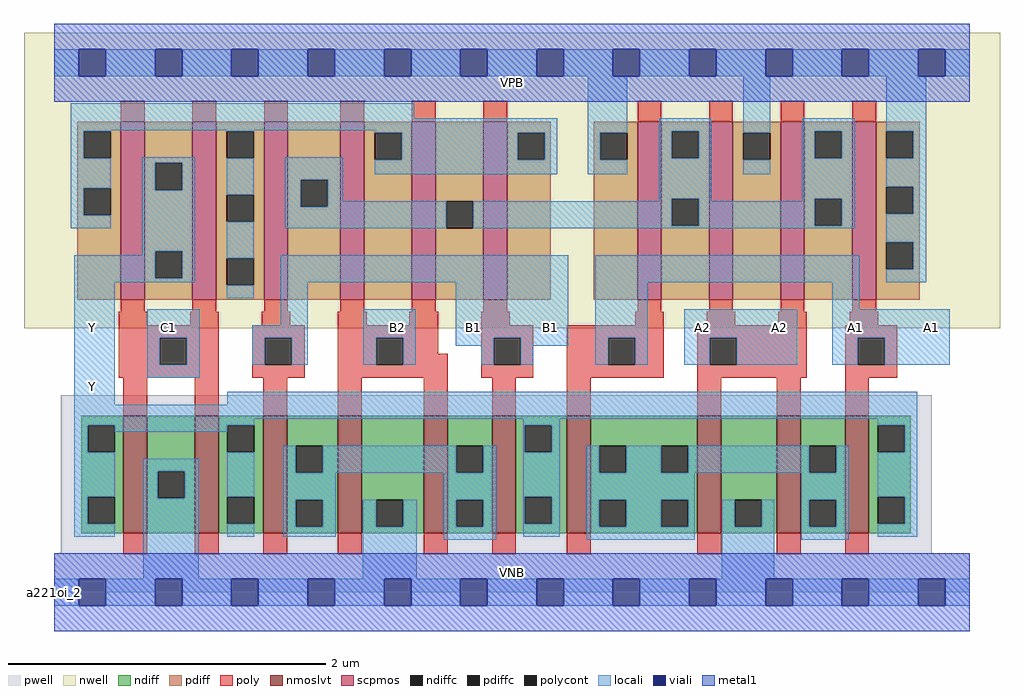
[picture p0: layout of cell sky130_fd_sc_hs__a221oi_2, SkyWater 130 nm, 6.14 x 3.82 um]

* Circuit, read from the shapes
.subckt sky130_fd_sc_hs__a221oi_2 A1 A2 B1 B2 C1 VGND VNB VPB VPWR Y
XM1 VGND C1 Y VNB sky130_fd_pr__nfet_01v8_lvt w=0.74 l=0.15 m=2
XM2 n1 B1 Y VNB sky130_fd_pr__nfet_01v8_lvt w=0.74 l=0.15 m=2
XM3 VGND B2 n1 VNB sky130_fd_pr__nfet_01v8_lvt w=0.74 l=0.15 m=2
XM4 n2 A1 Y VNB sky130_fd_pr__nfet_01v8_lvt w=0.74 l=0.15 m=2
XM5 VGND A2 n2 VNB sky130_fd_pr__nfet_01v8_lvt w=0.74 l=0.15 m=2
XM6 Y C1 n3 VPB sky130_fd_pr__pfet_01v8 w=1.12 l=0.15 m=2
XM7 n4 B1 n3 VPB sky130_fd_pr__pfet_01v8 w=1.12 l=0.15 m=2
XM8 n3 B2 n4 VPB sky130_fd_pr__pfet_01v8 w=1.12 l=0.15 m=2
XM9 n4 A1 VPWR VPB sky130_fd_pr__pfet_01v8 w=1.12 l=0.15 m=2
XM10 VPWR A2 n4 VPB sky130_fd_pr__pfet_01v8 w=1.12 l=0.15 m=2
.ends

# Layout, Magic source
magic
tech sky130A
magscale 1 2
<< nwell >>
rect -38 332 1190 704
<< pwell >>
rect 8 49 1104 248
rect 0 0 1152 49
<< scpmos >>
rect 84 368 114 592
rect 174 368 204 592
rect 264 368 294 592
rect 360 368 390 592
rect 450 368 480 592
rect 540 368 570 592
rect 734 368 764 592
rect 824 368 854 592
rect 914 368 944 592
rect 1004 368 1034 592
<< nmoslvt >>
rect 87 74 117 222
rect 177 74 207 222
rect 263 74 293 222
rect 357 74 387 222
rect 465 74 495 222
rect 551 74 581 222
rect 645 74 675 222
rect 809 74 839 222
rect 909 74 939 222
rect 995 74 1025 222
<< ndiff >>
rect 34 210 87 222
rect 34 176 42 210
rect 76 176 87 210
rect 34 120 87 176
rect 34 86 42 120
rect 76 86 87 120
rect 34 74 87 86
rect 117 152 177 222
rect 117 118 130 152
rect 164 118 177 152
rect 117 74 177 118
rect 207 210 263 222
rect 207 176 218 210
rect 252 176 263 210
rect 207 120 263 176
rect 207 86 218 120
rect 252 86 263 120
rect 207 74 263 86
rect 293 184 357 222
rect 293 150 304 184
rect 338 150 357 184
rect 293 116 357 150
rect 293 82 304 116
rect 338 82 357 116
rect 293 74 357 82
rect 387 116 465 222
rect 387 82 405 116
rect 439 82 465 116
rect 387 74 465 82
rect 495 184 551 222
rect 495 150 506 184
rect 540 150 551 184
rect 495 116 551 150
rect 495 82 506 116
rect 540 82 551 116
rect 495 74 551 82
rect 581 210 645 222
rect 581 176 592 210
rect 626 176 645 210
rect 581 120 645 176
rect 581 86 592 120
rect 626 86 645 120
rect 581 74 645 86
rect 675 184 809 222
rect 675 150 686 184
rect 720 150 764 184
rect 798 150 809 184
rect 675 116 809 150
rect 675 82 686 116
rect 720 82 764 116
rect 798 82 809 116
rect 675 74 809 82
rect 839 116 909 222
rect 839 82 856 116
rect 890 82 909 116
rect 839 74 909 82
rect 939 184 995 222
rect 939 150 950 184
rect 984 150 995 184
rect 939 116 995 150
rect 939 82 950 116
rect 984 82 995 116
rect 939 74 995 82
rect 1025 210 1078 222
rect 1025 176 1036 210
rect 1070 176 1078 210
rect 1025 120 1078 176
rect 1025 86 1036 120
rect 1070 86 1078 120
rect 1025 74 1078 86
<< pdiff >>
rect 29 580 84 592
rect 29 546 37 580
rect 71 546 84 580
rect 29 508 84 546
rect 29 474 37 508
rect 71 474 84 508
rect 29 368 84 474
rect 114 540 174 592
rect 114 506 127 540
rect 161 506 174 540
rect 114 429 174 506
rect 114 395 127 429
rect 161 395 174 429
rect 114 368 174 395
rect 204 580 264 592
rect 204 546 217 580
rect 251 546 264 580
rect 204 500 264 546
rect 204 466 217 500
rect 251 466 264 500
rect 204 420 264 466
rect 204 386 217 420
rect 251 386 264 420
rect 204 368 264 386
rect 294 519 360 592
rect 294 485 310 519
rect 344 485 360 519
rect 294 368 360 485
rect 390 578 450 592
rect 390 544 403 578
rect 437 544 450 578
rect 390 368 450 544
rect 480 492 540 592
rect 480 458 493 492
rect 527 458 540 492
rect 480 368 540 458
rect 570 578 625 592
rect 570 544 583 578
rect 617 544 625 578
rect 570 368 625 544
rect 679 578 734 592
rect 679 544 687 578
rect 721 544 734 578
rect 679 368 734 544
rect 764 580 824 592
rect 764 546 777 580
rect 811 546 824 580
rect 764 495 824 546
rect 764 461 777 495
rect 811 461 824 495
rect 764 368 824 461
rect 854 578 914 592
rect 854 544 867 578
rect 901 544 914 578
rect 854 368 914 544
rect 944 580 1004 592
rect 944 546 957 580
rect 991 546 1004 580
rect 944 495 1004 546
rect 944 461 957 495
rect 991 461 1004 495
rect 944 368 1004 461
rect 1034 580 1089 592
rect 1034 546 1047 580
rect 1081 546 1089 580
rect 1034 510 1089 546
rect 1034 476 1047 510
rect 1081 476 1089 510
rect 1034 440 1089 476
rect 1034 406 1047 440
rect 1081 406 1089 440
rect 1034 368 1089 406
<< ndiffc >>
rect 42 176 76 210
rect 42 86 76 120
rect 130 118 164 152
rect 218 176 252 210
rect 218 86 252 120
rect 304 150 338 184
rect 304 82 338 116
rect 405 82 439 116
rect 506 150 540 184
rect 506 82 540 116
rect 592 176 626 210
rect 592 86 626 120
rect 686 150 720 184
rect 764 150 798 184
rect 686 82 720 116
rect 764 82 798 116
rect 856 82 890 116
rect 950 150 984 184
rect 950 82 984 116
rect 1036 176 1070 210
rect 1036 86 1070 120
<< pdiffc >>
rect 37 546 71 580
rect 37 474 71 508
rect 127 506 161 540
rect 127 395 161 429
rect 217 546 251 580
rect 217 466 251 500
rect 217 386 251 420
rect 310 485 344 519
rect 403 544 437 578
rect 493 458 527 492
rect 583 544 617 578
rect 687 544 721 578
rect 777 546 811 580
rect 777 461 811 495
rect 867 544 901 578
rect 957 546 991 580
rect 957 461 991 495
rect 1047 546 1081 580
rect 1047 476 1081 510
rect 1047 406 1081 440
<< poly >>
rect 84 592 114 618
rect 174 592 204 618
rect 264 592 294 618
rect 360 592 390 618
rect 450 592 480 618
rect 540 592 570 618
rect 734 592 764 618
rect 824 592 854 618
rect 914 592 944 618
rect 1004 592 1034 618
rect 84 353 114 368
rect 174 353 204 368
rect 264 353 294 368
rect 360 353 390 368
rect 450 353 480 368
rect 540 353 570 368
rect 734 353 764 368
rect 824 353 854 368
rect 914 353 944 368
rect 1004 353 1034 368
rect 81 336 117 353
rect 171 336 207 353
rect 261 336 297 353
rect 357 336 393 353
rect 447 336 483 353
rect 81 320 207 336
rect 81 286 133 320
rect 167 286 207 320
rect 81 270 207 286
rect 249 320 315 336
rect 249 286 265 320
rect 299 286 315 320
rect 249 270 315 286
rect 357 320 483 336
rect 357 286 405 320
rect 439 300 483 320
rect 537 336 573 353
rect 731 336 767 353
rect 821 336 857 353
rect 911 336 947 353
rect 1001 336 1037 353
rect 537 320 603 336
rect 439 286 495 300
rect 357 270 495 286
rect 537 286 553 320
rect 587 286 603 320
rect 537 270 603 286
rect 645 320 767 336
rect 645 286 697 320
rect 731 286 767 320
rect 645 270 767 286
rect 809 320 947 336
rect 809 286 825 320
rect 859 286 947 320
rect 809 270 947 286
rect 995 320 1061 336
rect 995 286 1011 320
rect 1045 286 1061 320
rect 995 270 1061 286
rect 87 222 117 270
rect 177 222 207 270
rect 263 222 293 270
rect 357 222 387 270
rect 465 222 495 270
rect 551 222 581 270
rect 645 222 675 270
rect 809 222 839 270
rect 909 222 939 270
rect 995 222 1025 270
rect 87 48 117 74
rect 177 48 207 74
rect 263 48 293 74
rect 357 48 387 74
rect 465 48 495 74
rect 551 48 581 74
rect 645 48 675 74
rect 809 48 839 74
rect 909 48 939 74
rect 995 48 1025 74
<< polycont >>
rect 133 286 167 320
rect 265 286 299 320
rect 405 286 439 320
rect 553 286 587 320
rect 697 286 731 320
rect 825 286 859 320
rect 1011 286 1045 320
<< locali >>
rect 0 649 31 683
rect 65 649 127 683
rect 161 649 223 683
rect 257 649 319 683
rect 353 649 415 683
rect 449 649 511 683
rect 545 649 607 683
rect 641 649 703 683
rect 737 649 799 683
rect 833 649 895 683
rect 929 649 991 683
rect 1025 649 1087 683
rect 1121 649 1152 683
rect 21 596 453 615
rect 21 581 633 596
rect 21 580 71 581
rect 21 546 37 580
rect 217 580 251 581
rect 21 508 71 546
rect 21 474 37 508
rect 21 458 71 474
rect 111 540 177 547
rect 111 506 127 540
rect 161 506 177 540
rect 111 429 177 506
rect 111 424 127 429
rect 25 395 127 424
rect 161 395 177 429
rect 25 390 177 395
rect 403 578 633 581
rect 217 500 251 546
rect 217 420 251 466
rect 291 519 363 547
rect 437 544 583 578
rect 617 544 633 578
rect 403 526 633 544
rect 671 578 721 649
rect 671 544 687 578
rect 671 526 721 544
rect 761 580 827 596
rect 761 546 777 580
rect 811 546 827 580
rect 291 485 310 519
rect 344 492 363 519
rect 761 495 827 546
rect 867 578 901 649
rect 867 526 901 544
rect 941 580 1007 596
rect 941 546 957 580
rect 991 546 1007 580
rect 761 492 777 495
rect 344 485 493 492
rect 291 458 493 485
rect 527 461 777 492
rect 811 492 827 495
rect 941 495 1007 546
rect 941 492 957 495
rect 811 461 957 492
rect 991 461 1007 495
rect 527 458 1007 461
rect 1047 580 1097 649
rect 1081 546 1097 580
rect 1047 510 1097 546
rect 1081 476 1097 510
rect 1047 440 1097 476
rect 25 236 76 390
rect 217 370 251 386
rect 285 390 647 424
rect 117 320 183 356
rect 285 336 319 390
rect 117 286 133 320
rect 167 286 183 320
rect 249 320 319 336
rect 249 286 265 320
rect 299 286 319 320
rect 389 320 455 356
rect 389 286 405 320
rect 439 286 455 320
rect 505 320 647 390
rect 505 310 553 320
rect 537 286 553 310
rect 587 310 647 320
rect 681 390 1013 424
rect 1081 406 1097 440
rect 1047 390 1097 406
rect 681 320 747 390
rect 979 356 1013 390
rect 587 286 603 310
rect 681 286 697 320
rect 731 286 747 320
rect 793 320 935 356
rect 793 286 825 320
rect 859 286 935 320
rect 979 320 1127 356
rect 979 286 1011 320
rect 1045 286 1127 320
rect 117 270 183 286
rect 218 236 1086 252
rect 25 218 1086 236
rect 25 210 252 218
rect 25 176 42 210
rect 76 202 218 210
rect 25 120 76 176
rect 590 210 636 218
rect 25 86 42 120
rect 25 70 76 86
rect 112 152 182 168
rect 112 118 130 152
rect 164 118 182 152
rect 112 17 182 118
rect 218 120 252 176
rect 218 70 252 86
rect 288 150 304 184
rect 338 150 506 184
rect 540 150 556 184
rect 288 116 354 150
rect 490 116 556 150
rect 288 82 304 116
rect 338 82 354 116
rect 288 70 354 82
rect 388 82 405 116
rect 439 82 456 116
rect 388 17 456 82
rect 490 82 506 116
rect 540 82 556 116
rect 490 66 556 82
rect 590 176 592 210
rect 626 176 636 210
rect 1036 210 1086 218
rect 590 120 636 176
rect 590 86 592 120
rect 626 86 636 120
rect 590 70 636 86
rect 670 150 686 184
rect 720 150 764 184
rect 798 150 950 184
rect 984 150 1000 184
rect 670 116 806 150
rect 940 116 1000 150
rect 670 82 686 116
rect 720 82 764 116
rect 798 82 806 116
rect 670 66 806 82
rect 840 82 856 116
rect 890 82 906 116
rect 840 17 906 82
rect 940 82 950 116
rect 984 82 1000 116
rect 940 66 1000 82
rect 1070 176 1086 210
rect 1036 120 1086 176
rect 1070 86 1086 120
rect 1036 70 1086 86
rect 0 -17 31 17
rect 65 -17 127 17
rect 161 -17 223 17
rect 257 -17 319 17
rect 353 -17 415 17
rect 449 -17 511 17
rect 545 -17 607 17
rect 641 -17 703 17
rect 737 -17 799 17
rect 833 -17 895 17
rect 929 -17 991 17
rect 1025 -17 1087 17
rect 1121 -17 1152 17
<< viali >>
rect 31 649 65 683
rect 127 649 161 683
rect 223 649 257 683
rect 319 649 353 683
rect 415 649 449 683
rect 511 649 545 683
rect 607 649 641 683
rect 703 649 737 683
rect 799 649 833 683
rect 895 649 929 683
rect 991 649 1025 683
rect 1087 649 1121 683
rect 31 -17 65 17
rect 127 -17 161 17
rect 223 -17 257 17
rect 319 -17 353 17
rect 415 -17 449 17
rect 511 -17 545 17
rect 607 -17 641 17
rect 703 -17 737 17
rect 799 -17 833 17
rect 895 -17 929 17
rect 991 -17 1025 17
rect 1087 -17 1121 17
<< metal1 >>
rect 0 683 1152 715
rect 0 649 31 683
rect 65 649 127 683
rect 161 649 223 683
rect 257 649 319 683
rect 353 649 415 683
rect 449 649 511 683
rect 545 649 607 683
rect 641 649 703 683
rect 737 649 799 683
rect 833 649 895 683
rect 929 649 991 683
rect 1025 649 1087 683
rect 1121 649 1152 683
rect 0 617 1152 649
rect 0 17 1152 49
rect 0 -17 31 17
rect 65 -17 127 17
rect 161 -17 223 17
rect 257 -17 319 17
rect 353 -17 415 17
rect 449 -17 511 17
rect 545 -17 607 17
rect 641 -17 703 17
rect 737 -17 799 17
rect 833 -17 895 17
rect 929 -17 991 17
rect 1025 -17 1087 17
rect 1121 -17 1152 17
rect 0 -49 1152 -17
<< labels >>
rlabel comment s 0 0 0 0 4 a221oi_2
flabel pwell s 0 0 1152 49 0 FreeSans 200 0 0 0 VNB
port 7 nsew ground bidirectional
flabel nwell s 0 617 1152 666 0 FreeSans 200 0 0 0 VPB
port 8 nsew power bidirectional
flabel metal1 s 0 617 1152 666 0 FreeSans 340 0 0 0 VPWR
port 9 nsew power bidirectional
flabel metal1 s 0 0 1152 49 0 FreeSans 340 0 0 0 VGND
port 6 nsew ground bidirectional
flabel locali s 31 242 65 276 0 FreeSans 340 0 0 0 Y
port 10 nsew signal output
flabel locali s 31 316 65 350 0 FreeSans 340 0 0 0 Y
port 10 nsew signal output
flabel locali s 415 316 449 350 0 FreeSans 340 0 0 0 B2
port 4 nsew signal input
flabel locali s 511 316 545 350 0 FreeSans 340 0 0 0 B1
port 3 nsew signal input
flabel locali s 607 316 641 350 0 FreeSans 340 0 0 0 B1
port 3 nsew signal input
flabel locali s 799 316 833 350 0 FreeSans 340 0 0 0 A2
port 2 nsew signal input
flabel locali s 895 316 929 350 0 FreeSans 340 0 0 0 A2
port 2 nsew signal input
flabel locali s 991 316 1025 350 0 FreeSans 340 0 0 0 A1
port 1 nsew signal input
flabel locali s 1087 316 1121 350 0 FreeSans 340 0 0 0 A1
port 1 nsew signal input
flabel locali s 127 316 161 350 0 FreeSans 340 0 0 0 C1
port 5 nsew signal input
<< properties >>
string LEFsite unit
string LEFclass CORE
string FIXED_BBOX 0 0 1152 666
string GDS_FILE $PDKPATH/libs.ref/sky130_fd_sc_hs/gds/sky130_fd_sc_hs.gds
string LEFsymmetry X Y
string GDS_END 2911988
string GDS_START 2902026
<< end >>
